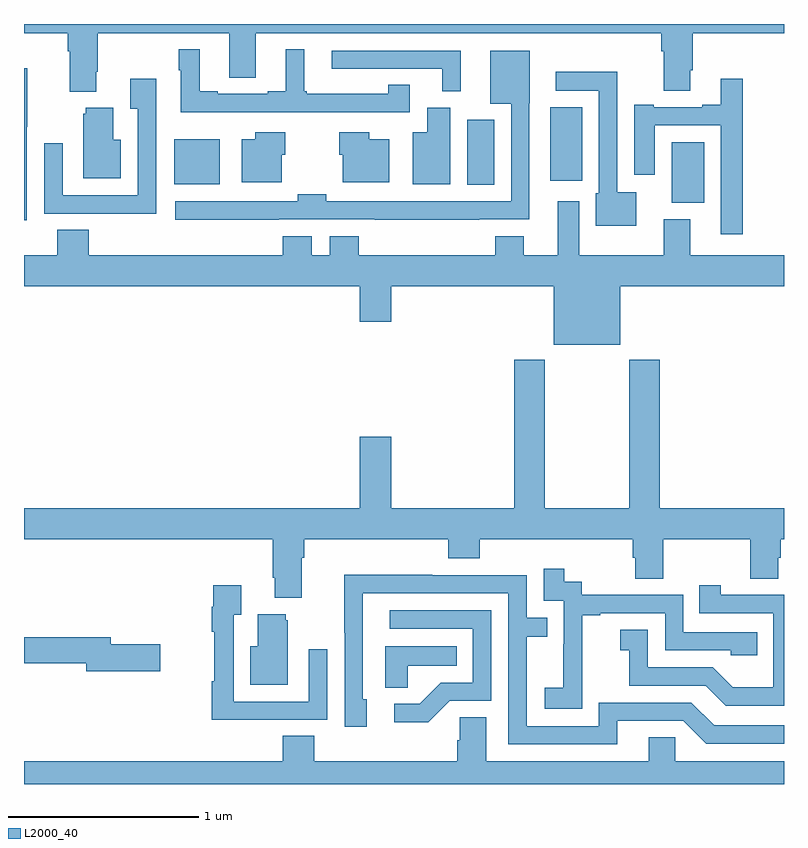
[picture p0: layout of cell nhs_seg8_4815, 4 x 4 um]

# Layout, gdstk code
import gdstk
lib = gdstk.Library(unit=1e-6, precision=1e-09)
def R(c, l, rs):  # rectangles x0, y0, x1, y1
    for r in rs: c.add(gdstk.rectangle(r[:2], r[2:], *l))
def P(c, l, *ps):  # polygons
    for p in ps: c.add(gdstk.Polygon(p, *l))
L2000_40 = (2000, 40)

nhs_seg8_4815 = lib.new_cell('nhs_seg8_4815')
R(nhs_seg8_4815, L2000_40, [(406.409,1096.958,406.579,1097.278), (405.332,1097.053,405.475,1097.395), (403.79,1097.057,404.029,1097.293), (405.77,1097.075,405.937,1097.461)])
P(nhs_seg8_4815, L2000_40, [(403.381,1097.65),(403.389,1097.65),(403.389,1097.852),(404.081,1097.852),(404.081,1097.617),(404.221,1097.617),(404.221,1097.852),(406.355,1097.852),(406.355,1097.756),(406.367,1097.756),(406.367,1097.548),(406.507,1097.548),(406.507,1097.656),(406.52,1097.656),(406.52,1097.852),(407,1097.852),(407,1097.9),(403,1097.9),(403,1097.852),(403.229,1097.852),(403.229,1097.756),(403.241,1097.756),(403.241,1097.543),(403.381,1097.543)],
  [(404.12,1097.436),(405.031,1097.436),(405.031,1097.579),(404.918,1097.579),(404.918,1097.533),(404.488,1097.533),(404.488,1097.545),(404.476,1097.545),(404.476,1097.767),(404.378,1097.767),(404.378,1097.545),(404.282,1097.545),(404.282,1097.532),(404.02,1097.532),(404.02,1097.545),(403.924,1097.545),(403.924,1097.767),(403.815,1097.767),(403.815,1097.657),(403.826,1097.657),(403.826,1097.435),(404.12,1097.435)],
  [(405.298,1097.76),(404.619,1097.76),(404.619,1097.664),(405.2,1097.664),(405.2,1097.545),(405.298,1097.545)],
  [(404.342,1096.872),(404.845,1096.872),(404.845,1096.871),(405.395,1096.871),(405.395,1096.872),(405.66,1096.872),(405.66,1097.484),(405.661,1097.484),(405.661,1097.758),(405.455,1097.758),(405.455,1097.48),(405.564,1097.48),(405.564,1096.968),(404.592,1096.968),(404.592,1097.004),(404.442,1097.004),(404.442,1096.968),(403.797,1096.968),(403.797,1096.871),(404.342,1096.871)],
  [(403.014,1097.359),(403.017,1097.359),(403.017,1097.666),(403,1097.666),(403,1096.866),(403.014,1096.866)],
  [(406.222,1097.014),(406.122,1097.014),(406.122,1097.648),(405.798,1097.648),(405.798,1097.55),(406.026,1097.55),(406.026,1097.01),(406.01,1097.01),(406.01,1096.838),(406.222,1096.838)],
  [(406.784,1097.611),(406.667,1097.611),(406.667,1097.476),(406.571,1097.476),(406.571,1097.463),(406.315,1097.463),(406.315,1097.476),(406.211,1097.476),(406.211,1097.106),(406.321,1097.106),(406.321,1097.367),(406.668,1097.367),(406.668,1096.794),(406.784,1096.794)],
  [(403.695,1097.389),(403.696,1097.389),(403.696,1097.611),(403.559,1097.611),(403.559,1097.455),(403.599,1097.455),(403.599,1096.998),(403.203,1096.998),(403.203,1097.272),(403.107,1097.272),(403.107,1096.902),(403.423,1096.902),(403.423,1096.901),(403.695,1096.901)],
  [(405.244,1097.46),(405.122,1097.46),(405.122,1097.329),(405.047,1097.329),(405.047,1097.057),(405.244,1097.057)],
  [(403.51,1097.29),(403.471,1097.29),(403.471,1097.458),(403.325,1097.458),(403.325,1097.427),(403.313,1097.427),(403.313,1097.087),(403.51,1097.087)],
  [(404.356,1097.211),(404.374,1097.211),(404.374,1097.329),(404.216,1097.329),(404.216,1097.293),(404.147,1097.293),(404.147,1097.066),(404.356,1097.066)],
  [(404.923,1097.293),(404.818,1097.293),(404.818,1097.329),(404.66,1097.329),(404.66,1097.211),(404.678,1097.211),(404.678,1097.066),(404.923,1097.066)],
  [(406.138,1096.52),(407,1096.52),(407,1096.684),(406.507,1096.684),(406.507,1096.873),(406.367,1096.873),(406.367,1096.684),(405.922,1096.684),(405.922,1096.966),(405.809,1096.966),(405.809,1096.684),(405.631,1096.684),(405.631,1096.783),(405.479,1096.783),(405.479,1096.684),(404.762,1096.684),(404.762,1096.783),(404.609,1096.783),(404.609,1096.684),(404.515,1096.684),(404.515,1096.783),(404.363,1096.783),(404.363,1096.684),(403.34,1096.684),(403.34,1096.817),(403.175,1096.817),(403.175,1096.684),(403,1096.684),(403,1096.52),(404.768,1096.52),(404.768,1096.332),(404.932,1096.332),(404.932,1096.52),(405.788,1096.52),(405.788,1096.211),(406.138,1096.211)],
  [(404.461,1095.092),(404.474,1095.092),(404.474,1095.188),(405.233,1095.188),(405.233,1095.089),(405.398,1095.089),(405.398,1095.188),(406.205,1095.188),(406.205,1095.09),(406.217,1095.09),(406.217,1094.98),(406.365,1094.98),(406.365,1095.188),(406.822,1095.188),(406.822,1094.98),(406.969,1094.98),(406.969,1095.09),(406.982,1095.09),(406.982,1095.188),(407,1095.188),(407,1095.352),(406.346,1095.352),(406.346,1096.132),(406.186,1096.132),(406.186,1095.352),(405.741,1095.352),(405.741,1096.132),(405.581,1096.132),(405.581,1095.352),(404.932,1095.352),(404.932,1095.727),(404.768,1095.727),(404.768,1095.352),(403,1095.352),(403,1095.188),(404.309,1095.188),(404.309,1094.986),(404.321,1094.986),(404.321,1094.879),(404.461,1094.879)],
  [(405.939,1094.503),(405.938,1094.503),(405.938,1094.787),(406.033,1094.787),(406.033,1094.799),(406.374,1094.799),(406.374,1094.604),(406.719,1094.604),(406.719,1094.577),(406.859,1094.577),(406.859,1094.7),(406.47,1094.7),(406.47,1094.895),(405.936,1094.895),(405.936,1094.964),(405.844,1094.964),(405.844,1095.034),(405.735,1095.034),(405.735,1094.865),(405.84,1094.865),(405.84,1094.636),(405.839,1094.636),(405.839,1094.407),(405.741,1094.407),(405.741,1094.297),(405.939,1094.297)],
  [(406.123,1094.232),(406.47,1094.232),(406.59,1094.112),(407,1094.112),(407,1094.208),(406.632,1094.208),(406.512,1094.328),(406.026,1094.328),(406.026,1094.205),(405.645,1094.205),(405.645,1094.674),(405.755,1094.674),(405.755,1094.775),(405.645,1094.775),(405.645,1095),(405.149,1095),(405.149,1095.002),(404.686,1095.002),(404.686,1094.695),(404.688,1094.695),(404.688,1094.202),(404.803,1094.202),(404.803,1094.346),(404.784,1094.346),(404.784,1094.904),(405.549,1094.904),(405.549,1094.109),(406.123,1094.109)],
  [(407,1094.895),(406.666,1094.895),(406.666,1094.947),(406.555,1094.947),(406.555,1094.799),(406.944,1094.799),(406.944,1094.41),(406.73,1094.41),(406.626,1094.514),(406.284,1094.514),(406.284,1094.713),(406.137,1094.713),(406.137,1094.603),(406.186,1094.603),(406.186,1094.418),(406.589,1094.418),(406.694,1094.313),(407,1094.313)],
  [(404.279,1094.238),(404.595,1094.238),(404.595,1094.608),(404.499,1094.608),(404.499,1094.334),(404.103,1094.334),(404.103,1094.791),(404.143,1094.791),(404.143,1094.947),(403.995,1094.947),(403.995,1094.834),(403.987,1094.834),(403.987,1094.702),(404.002,1094.702),(404.002,1094.441),(403.987,1094.441),(403.987,1094.237),(404.279,1094.237)],
  [(405.24,1094.337),(405.459,1094.337),(405.459,1094.814),(404.925,1094.814),(404.925,1094.718),(405.363,1094.718),(405.363,1094.433),(405.194,1094.433),(405.083,1094.322),(404.949,1094.322),(404.949,1094.225),(405.127,1094.225)],
  [(404.389,1094.763),(404.378,1094.763),(404.378,1094.794),(404.231,1094.794),(404.231,1094.626),(404.192,1094.626),(404.192,1094.423),(404.389,1094.423)],
  [(403.717,1094.636),(403.456,1094.636),(403.456,1094.672),(403,1094.672),(403,1094.536),(403.328,1094.536),(403.328,1094.494),(403.717,1094.494)],
  [(405.021,1094.522),(405.278,1094.522),(405.278,1094.626),(404.9,1094.626),(404.9,1094.407),(405.021,1094.407)],
  [(407,1094.02),(406.428,1094.02),(406.428,1094.147),(406.289,1094.147),(406.289,1094.02),(405.433,1094.02),(405.433,1094.252),(405.294,1094.252),(405.294,1094.129),(405.281,1094.129),(405.281,1094.02),(404.528,1094.02),(404.528,1094.153),(404.363,1094.153),(404.363,1094.02),(403,1094.02),(403,1093.9),(407,1093.9)])

lib.write_gds('nhs_seg8_4815.gds')
